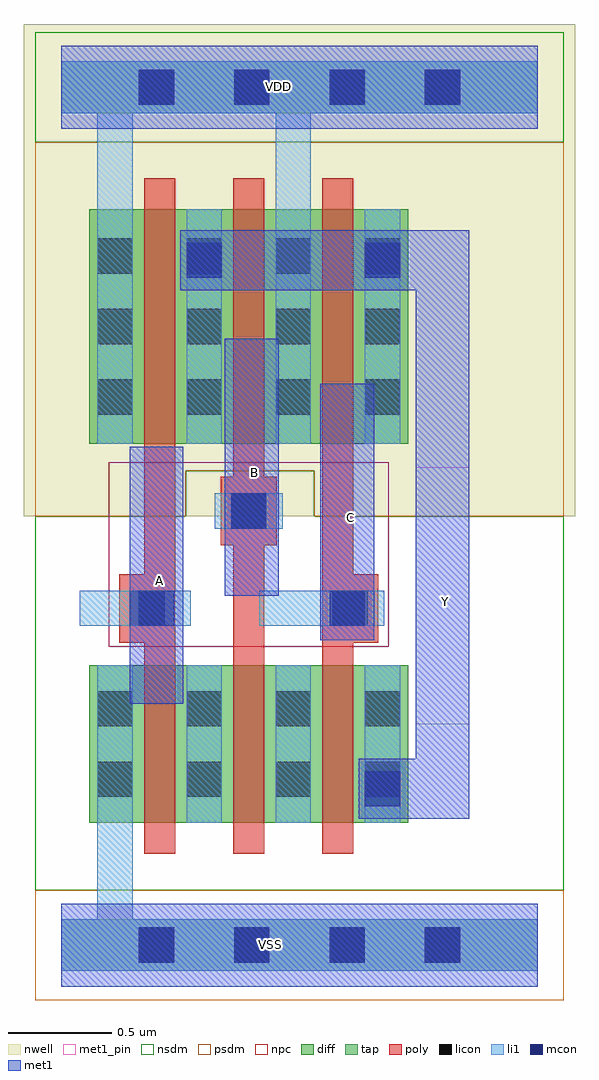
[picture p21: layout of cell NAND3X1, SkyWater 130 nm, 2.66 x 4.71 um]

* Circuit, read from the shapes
.subckt NAND3X1 A B C VDD VSS Y
XM1 n1 A VSS VSS sky130_fd_pr__nfet_01v8 w=0.76 l=0.15
XM2 n2 B n1 VSS sky130_fd_pr__nfet_01v8 w=0.76 l=0.15
XM3 Y C n2 VSS sky130_fd_pr__nfet_01v8 w=0.76 l=0.15
XM4 Y A VDD VDD sky130_fd_pr__pfet_01v8 w=1.13 l=0.15
XM5 VDD B Y VDD sky130_fd_pr__pfet_01v8 w=1.13 l=0.15
XM6 Y C VDD VDD sky130_fd_pr__pfet_01v8 w=1.13 l=0.15
.ends

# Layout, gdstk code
from math import pi, radians
import gdstk
lib = gdstk.Library(unit=1e-6, precision=1e-09)
def R(c, l, rs):  # rectangles x0, y0, x1, y1
    for r in rs: c.add(gdstk.rectangle(r[:2], r[2:], *l))
def A(c, l, x, y, w, h, nx, ny, dx, dy):  # array of equal rectangles
    R(c, l, [(x+i*dx, y+j*dy, x+i*dx+w, y+j*dy+h) for i in range(nx) for j in range(ny)])
def P(c, l, *ps):  # polygons
    for p in ps: c.add(gdstk.Polygon(p, *l))
nwell = (64, 20)
diff = (65, 20)
tap = (65, 44)
poly = (66, 20)
licon = (66, 44)
li1 = (67, 20)
mcon = (67, 44)
met1_pin = (68, 16)
met1 = (68, 20)
nsdm = (93, 44)
psdm = (94, 20)
npc = (95, 20)

l1m1_c_cdns_750710154091 = lib.new_cell('L1M1_C_CDNS_750710154091')
R(l1m1_c_cdns_750710154091, li1, [(-0.085,-0.165,0.085,0.165)])
R(l1m1_c_cdns_750710154091, mcon, [(-0.085,-0.085,0.085,0.085)])
R(l1m1_c_cdns_750710154091, met1, [(-0.115,-0.145,0.115,0.145)])

licondiff_c_cdns_7507101 = lib.new_cell('LICONDIFF_C_CDNS_7507101540911')
R(licondiff_c_cdns_7507101, diff, [(-0.125,-0.145,0.125,0.145)])
R(licondiff_c_cdns_7507101, licon, [(-0.085,-0.085,0.085,0.085), (-0.085,-0.085,0.085,0.085)])

pyl1con_c_cdns_750710154 = lib.new_cell('PYL1CON_C_CDNS_750710154092')
R(pyl1con_c_cdns_750710154, poly, [(-0.135,-0.165,0.135,0.165)])
R(pyl1con_c_cdns_750710154, licon, [(-0.085,-0.085,0.085,0.085)])
R(pyl1con_c_cdns_750710154, npc, [(-0.185,-0.185,0.185,0.185)])

l1m1_c_cdns_750710154090 = lib.new_cell('L1M1_C_CDNS_750710154090')
R(l1m1_c_cdns_750710154090, li1, [(-0.165,-0.085,0.165,0.085)])
R(l1m1_c_cdns_750710154090, mcon, [(-0.085,-0.085,0.085,0.085)])
R(l1m1_c_cdns_750710154090, met1, [(-0.115,-0.145,0.115,0.145)])

nand3x1 = lib.new_cell('NAND3X1')
R(nand3x1, nwell, [(-0.18,2.07,2.48,4.305), (-0.045,2.24,0.955,3.73), (0.595,2.24,1.385,3.73), (1.025,2.24,1.855,3.73), (-0.18,3.875,2.48,4.445)])
A(nand3x1, diff, 0.4, 0.59, 0.15, 0.76, 3, 1, 0.43, 0)
A(nand3x1, diff, 0.4, 2.42, 0.15, 1.13, 3, 1, 0.43, 0)
R(nand3x1, diff, [(0.135,0.59,0.4,1.35), (0.55,0.59,0.775,1.35), (0.775,0.59,0.83,1.35), (0.98,0.59,1.205,1.35), (1.205,0.59,1.26,1.35), (1.41,0.59,1.675,1.35), (0.135,2.42,0.4,3.55), (0.55,2.42,0.775,3.55), (0.775,2.42,0.83,3.55), (0.98,2.42,1.205,3.55), (1.205,2.42,1.26,3.55), (1.41,2.42,1.675,3.55)])
A(nand3x1, poly, 0.4, 0.44, 0.15, 0.055, 3, 2, 0.43, 1.005)
A(nand3x1, poly, 0.4, 0.495, 0.15, 0.095, 3, 2, 0.43, 0.855)
A(nand3x1, poly, 0.4, 0.59, 0.15, 0.76, 3, 1, 0.43, 0)
A(nand3x1, poly, 0.4, 2.27, 0.15, 0.055, 3, 2, 0.43, 1.375)
A(nand3x1, poly, 0.4, 2.325, 0.15, 0.095, 3, 2, 0.43, 1.225)
A(nand3x1, poly, 0.4, 2.42, 0.15, 1.13, 3, 1, 0.43, 0)
A(nand3x1, licon, 0.175, 2.56, 0.17, 0.17, 4, 3, 0.43, 0.34)
R(nand3x1, licon, [(0.375,-0.085,0.545,0.085), (0.375,-0.085,0.545,0.085), (0.835,-0.085,1.005,0.085), (0.835,-0.085,1.005,0.085), (1.295,-0.085,1.465,0.085), (1.295,-0.085,1.465,0.085), (1.755,-0.085,1.925,0.085), (1.755,-0.085,1.925,0.085), (0.175,0.715,0.345,0.885), (1.465,0.715,1.635,0.885), (0.175,1.055,0.345,1.225), (1.465,1.055,1.635,1.225), (0.375,4.055,0.545,4.225), (0.375,4.055,0.545,4.225), (0.835,4.055,1.005,4.225), (0.835,4.055,1.005,4.225), (1.295,4.055,1.465,4.225), (1.295,4.055,1.465,4.225), (1.755,4.055,1.925,4.225), (1.755,4.055,1.925,4.225)])
A(nand3x1, li1, 0.175, 2.42, 0.17, 1.13, 4, 1, 0.43, 0)
R(nand3x1, li1, [(0.175,0.59,0.345,1.35), (1.465,0.59,1.635,1.35)])
R(nand3x1, mcon, [(0.375,-0.085,0.545,0.085), (0.375,-0.085,0.545,0.085), (0.835,-0.085,1.005,0.085), (0.835,-0.085,1.005,0.085), (1.295,-0.085,1.465,0.085), (1.295,-0.085,1.465,0.085), (1.755,-0.085,1.925,0.085), (1.755,-0.085,1.925,0.085), (0.375,4.055,0.545,4.225), (0.375,4.055,0.545,4.225), (0.835,4.055,1.005,4.225), (0.835,4.055,1.005,4.225), (1.295,4.055,1.465,4.225), (1.295,4.055,1.465,4.225), (1.755,4.055,1.925,4.225), (1.755,4.055,1.925,4.225)])
R(nand3x1, met1_pin, [(1.71,1.065,1.97,2.305), (0.33,1.165,0.59,2.405), (1.25,1.47,1.51,2.71), (0.79,1.685,1.05,2.925)])
R(nand3x1, nsdm, [(-0.005,0.46,0.785,1.48), (0.765,0.46,1.215,1.48), (1.195,0.46,1.815,1.48), (-0.125,3.875,2.425,4.405), (-0.125,3.875,2.425,4.405), (-0.125,3.93,2.425,4.35), (-0.125,3.93,2.425,4.35)])
P(nand3x1, nsdm, [(2.425,2.07),(1.22,2.07),(1.22,2.29),(0.6,2.29),(0.6,2.07),(-0.125,2.07),(-0.125,0.265),(2.425,0.265)])
R(nand3x1, psdm, [(-0.125,-0.265,2.425,0.265), (-0.125,-0.21,2.425,0.21), (-0.005,2.29,0.785,3.68), (0.765,2.29,1.215,3.68), (1.195,2.29,1.815,3.68)])
P(nand3x1, psdm, [(2.425,3.875),(-0.125,3.875),(-0.125,2.07),(0.6,2.07),(0.6,2.29),(1.22,2.29),(1.22,2.07),(2.425,2.07)])
R(nand3x1, npc, [(0.23,1.44,1.58,2.33)])
nand3x1.add(gdstk.FlexPath([(0.475,2.42),(0.475,1.35)], 0.15, ends="flush", simple_path=True, layer=66, datatype=20))  # poly
nand3x1.add(gdstk.FlexPath([(0.905,2.42),(0.905,1.35)], 0.15, ends="flush", simple_path=True, layer=66, datatype=20))  # poly
nand3x1.add(gdstk.FlexPath([(1.335,2.42),(1.335,1.35)], 0.15, ends="flush", simple_path=True, layer=66, datatype=20))  # poly
nand3x1.add(gdstk.FlexPath([(2.215,4.14),(0,4.14)], 0.25, ends=(0.085, 0), simple_path=True, layer=67, datatype=20))  # li1
nand3x1.add(gdstk.FlexPath([(2.215,4.14),(0,4.14)], 0.25, ends=(0.085, 0), simple_path=True, layer=67, datatype=20))  # li1
nand3x1.add(gdstk.FlexPath([(2.215,0),(0,0)], 0.25, ends=(0.085, 0), simple_path=True, layer=67, datatype=20))  # li1
nand3x1.add(gdstk.FlexPath([(2.215,0),(0,0)], 0.25, ends=(0.085, 0), simple_path=True, layer=67, datatype=20))  # li1
nand3x1.add(gdstk.FlexPath([(0.955,1.625),(1.56,1.625)], 0.17, ends="flush", simple_path=True, layer=67, datatype=20))  # li1
nand3x1.add(gdstk.FlexPath([(0.09,1.625),(0.58,1.625)], 0.17, ends="flush", simple_path=True, layer=67, datatype=20))  # li1
nand3x1.add(gdstk.FlexPath([(0.26,3.41),(0.26,4.14)], 0.17, ends="flush", simple_path=True, layer=67, datatype=20))  # li1
nand3x1.add(gdstk.FlexPath([(1.12,3.41),(1.12,4.14)], 0.17, ends="flush", simple_path=True, layer=67, datatype=20))  # li1
nand3x1.add(gdstk.FlexPath([(0.26,0.72),(0.26,0)], 0.17, ends="flush", simple_path=True, layer=67, datatype=20))  # li1
nand3x1.add(gdstk.FlexPath([(0.69,0.59),(0.69,1.35)], 0.17, ends="flush", simple_path=True, layer=67, datatype=20))  # li1
nand3x1.add(gdstk.FlexPath([(1.12,0.59),(1.12,1.35)], 0.17, ends="flush", simple_path=True, layer=67, datatype=20))  # li1
nand3x1.add(gdstk.FlexPath([(1.84,3.45),(1.84,0.62)], 0.26, ends="flush", simple_path=True, layer=68, datatype=20))  # met1
nand3x1.add(gdstk.FlexPath([(0.46,1.165),(0.46,2.405)], 0.26, ends="flush", simple_path=True, layer=68, datatype=20))  # met1
nand3x1.add(gdstk.FlexPath([(0,0),(2.3,0)], 0.4, ends="flush", simple_path=True, layer=68, datatype=20))  # met1
nand3x1.add(gdstk.FlexPath([(1.51,3.305),(0.65,3.305)], 0.29, ends=(0.145, 0), simple_path=True, layer=68, datatype=20))  # met1
nand3x1.add(gdstk.FlexPath([(0,4.14),(2.3,4.14)], 0.4, ends="flush", simple_path=True, layer=68, datatype=20))  # met1
nand3x1.add(gdstk.FlexPath([(1.825,3.305),(1.535,3.305)], 0.29, ends=(0.145, 0), simple_path=True, layer=68, datatype=20))  # met1
nand3x1.add(gdstk.FlexPath([(1.825,0.755),(1.535,0.755)], 0.29, ends=(0.145, 0), simple_path=True, layer=68, datatype=20))  # met1
nand3x1.add(gdstk.FlexPath([(1.825,0.62),(1.825,0.755)], 0.29, ends=(0, 0.145), simple_path=True, layer=68, datatype=20))  # met1
nand3x1.add(gdstk.FlexPath([(1.38,1.47),(1.38,2.71)], 0.26, ends="flush", simple_path=True, layer=68, datatype=20))  # met1
nand3x1.add(gdstk.FlexPath([(1.625,3.305),(1.51,3.305)], 0.29, ends=(0, 0.145), simple_path=True, layer=68, datatype=20))  # met1
nand3x1.add(gdstk.FlexPath([(0.92,1.685),(0.92,2.925)], 0.26, ends="flush", simple_path=True, layer=68, datatype=20))  # met1
nand3x1.add(gdstk.FlexPath([(1.825,3.17),(1.825,3.305)], 0.29, ends=(0, 0.145), simple_path=True, layer=68, datatype=20))  # met1
nand3x1.add(gdstk.FlexPath([(0,4.14),(2.3,4.14)], 0.4, ends="flush", simple_path=True, layer=68, datatype=16))  # met1_pin
nand3x1.add(gdstk.FlexPath([(0,0),(2.3,0)], 0.4, ends="flush", simple_path=True, layer=68, datatype=16))  # met1_pin
nand3x1.add(gdstk.FlexPath([(0,0),(2.3,0)], 0.4, ends="flush", simple_path=True, layer=68, datatype=16))  # met1_pin
nand3x1.add(gdstk.FlexPath([(0,4.14),(2.3,4.14)], 0.4, ends="flush", simple_path=True, layer=68, datatype=16))  # met1_pin
nand3x1.add(gdstk.FlexPath([(0,4.14),(2.3,4.14)], 0.25, ends="flush", simple_path=True, layer=65, datatype=44))  # tap
nand3x1.add(gdstk.FlexPath([(0,0),(2.3,0)], 0.25, ends="flush", simple_path=True, layer=65, datatype=44))  # tap
nand3x1.add(gdstk.FlexPath([(0,4.14),(2.3,4.14)], 0.25, ends="flush", simple_path=True, layer=65, datatype=44))  # tap
nand3x1.add(gdstk.FlexPath([(0,0),(2.3,0)], 0.25, ends="flush", simple_path=True, layer=65, datatype=44))  # tap
nand3x1.add(gdstk.Reference(l1m1_c_cdns_750710154091, (1.55,0.755)))
nand3x1.add(gdstk.Reference(l1m1_c_cdns_750710154091, (1.55,3.305)))
nand3x1.add(gdstk.Reference(l1m1_c_cdns_750710154091, (0.69,3.305)))
nand3x1.add(gdstk.Reference(licondiff_c_cdns_7507101, (1.12,1.14)))
nand3x1.add(gdstk.Reference(licondiff_c_cdns_7507101, (0.69,1.14)))
nand3x1.add(gdstk.Reference(licondiff_c_cdns_7507101, (1.12,0.8)))
nand3x1.add(gdstk.Reference(licondiff_c_cdns_7507101, (0.69,0.8)))
nand3x1.add(gdstk.Reference(pyl1con_c_cdns_750710154, (1.395,1.625), rotation=pi, x_reflection=True))
nand3x1.add(gdstk.Reference(pyl1con_c_cdns_750710154, (0.415,1.625), rotation=pi, x_reflection=True))
nand3x1.add(gdstk.Reference(pyl1con_c_cdns_750710154, (0.905,2.095), rotation=pi, x_reflection=True))
nand3x1.add(gdstk.Reference(l1m1_c_cdns_750710154090, (1.38,1.625), x_reflection=True))
nand3x1.add(gdstk.Reference(l1m1_c_cdns_750710154090, (0.905,2.095), x_reflection=True))
nand3x1.add(gdstk.Reference(l1m1_c_cdns_750710154090, (0.46,1.625), x_reflection=True))
nand3x1.add(gdstk.Label('VSS', (1.01,0.005), layer=68, texttype=5))
nand3x1.add(gdstk.Label('Y', (1.855,1.66), layer=68, texttype=5))
nand3x1.add(gdstk.Label('B', (0.935,2.28), layer=68, texttype=5))
nand3x1.add(gdstk.Label('C', (1.395,2.065), layer=68, texttype=5))
nand3x1.add(gdstk.Label('A', (0.475,1.76), layer=68, texttype=5))
nand3x1.add(gdstk.Label('VDD', (1.05,4.145), layer=68, texttype=5))

lib.write_gds('NAND3X1.gds')
